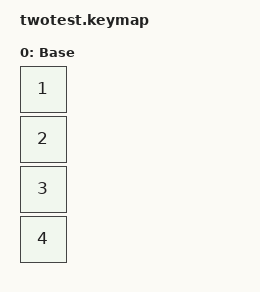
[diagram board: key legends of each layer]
#include <behaviors.dtsi>
#include <dt-bindings/zmk/keys.h>

/ {

    keymap {
        compatible = "zmk,keymap";

        default_layer { // Layer 0
            display-name = "Base";
// ----------------------------------------------
// |     1     |
// |     2     |
// |     3     |
// |     4     |
            bindings = <
                &kp 1
                &kp 2
                &kp 3
                &kp 4
            >;
        };
    };


};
